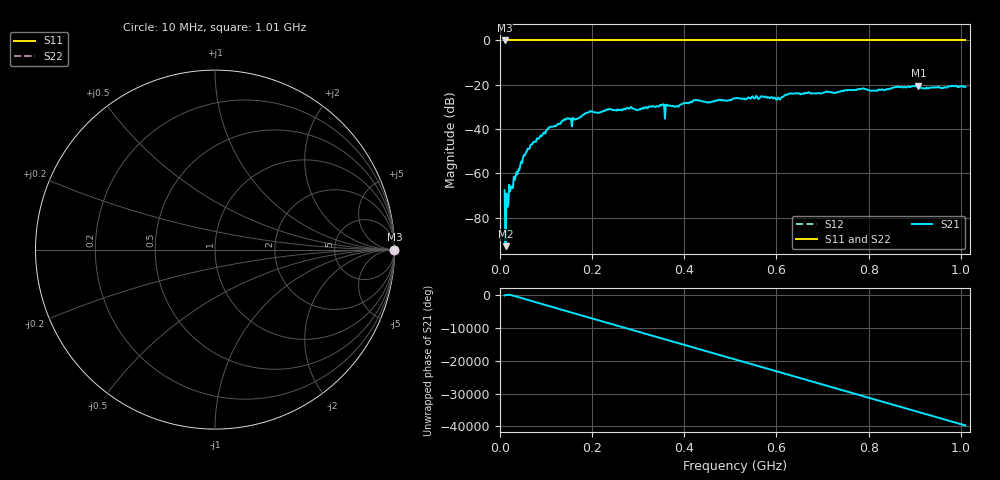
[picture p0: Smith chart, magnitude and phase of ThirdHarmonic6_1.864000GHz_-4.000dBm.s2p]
! 8/16/2025 10:32:08 PM
! C:\ANRITSUVNA\TEMP\TEMP.S2P
! CHANNEL.1
! TR.MEASUREMENT
! RAW.DATA
! RF.CORRECTION.OFF
! AVERAGING.OFF
! IF.BANDWIDTH: 5KHZ
! SWEEPTYPE:  FREQ.SWEEP(Linear)
! Reference Plane Port Info
! PORT:  PORT1  PORT2
! DISTANCE:  0  m  0  m
! TIME:  0  s  0  s
! PHASE.OFFSET:  0  deg.  0  deg.
! LOSS:  0  dB  0  dB
! REF.LOSS:  0  dB  0  dB
! REF.FREQ:  0  Hz  0  Hz
! Power Info
! POWER:  -20  dBm  -20  dBm
! EFF.POWER:  -20  dBm  -20  dBm
! SOURCE.ATTEN:  0  dB  0  dB
! TEST.ATTEN:  0  dB  0  dB
# GHZ S RI R 50.0
! FREQ.GHZ  S11RE  S11IM  S21RE  S21IM  S12RE  S12IM  S22RE  S22IM
!; PortSelection: Port_12
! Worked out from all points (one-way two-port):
!   501 points, 10 MHz to 1.01 GHz, reference 50 ohm
!   highest |S21| = -20.46 dB at 908 MHz (marker M1); lowest = -92.8 dB at 12 MHz (marker M2)
!   lowest |S11| = 0.0 dB at 10 MHz (marker M3)
!   |S11| at or under -10 dB: nowhere
!   |S22| runs from 0.0 to 0.0 dB; largest |S21 - S12| = 1.1
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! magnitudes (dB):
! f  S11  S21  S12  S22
! 10 MHz  0.0  -67.5  0.0  0.0
! 12 MHz  0.0  -92.8  0.0  0.0
! 16 MHz  0.0  -75.1  0.0  0.0
! 24 MHz  0.0  -66.0  0.0  0.0
! 48 MHz  0.0  -55.3  0.0  0.0
! 70 MHz  0.0  -46.9  0.0  0.0
! 108 MHz  0.0  -39.1  0.0  0.0
! 142 MHz  0.0  -35.8  0.0  0.0
! 160 MHz  0.0  -35.6  0.0  0.0
! 178 MHz  0.0  -34.0  0.0  0.0
! 196 MHz  0.0  -31.8  0.0  0.0
! 344 MHz  0.0  -29.8  0.0  0.0
! 362 MHz  0.0  -28.9  0.0  0.0
! 424 MHz  0.0  -27.0  0.0  0.0
! 454 MHz  0.0  -27.8  0.0  0.0
! 510 MHz  0.0  -26.1  0.0  0.0
! 604 MHz  0.0  -25.7  0.0  0.0
! 630 MHz  0.0  -24.0  0.0  0.0
! 678 MHz  0.0  -23.9  0.0  0.0
! 844 MHz  0.0  -22.0  0.0  0.0
! 908 MHz  0.0  -20.5  0.0  0.0
! 1.01 GHz  0.0  -20.9  0.0  0.0
